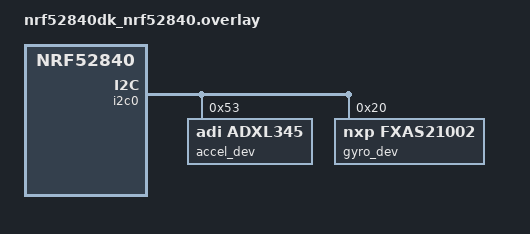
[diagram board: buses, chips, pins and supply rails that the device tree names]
/ {
	aliases {
		accel0 = &accel_dev;
		gyro0  = &gyro_dev;
	};
};

&i2c0 {
	status = "okay";
	accel_dev: adxl345@53 {
		compatible = "adi,adxl345";
		reg = <0x53>;
	};
	gyro_dev: fxas21002@20 {
		compatible = "nxp,fxas21002";
		reg = <0x20>;
	};
};
